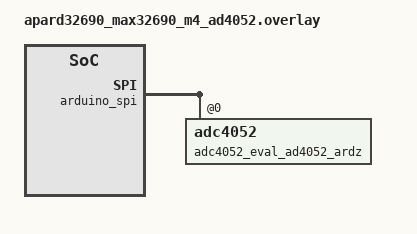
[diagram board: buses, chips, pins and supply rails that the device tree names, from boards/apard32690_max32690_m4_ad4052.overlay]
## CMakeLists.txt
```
# SPDX-License-Identifier: Apache-2.0

cmake_minimum_required(VERSION 3.20.0)

find_package(Zephyr REQUIRED HINTS $ENV{ZEPHYR_BASE})
project(adc_stream)

target_sources(app PRIVATE src/main.c)
```

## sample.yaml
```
sample:
  name: ADC stream sample
common:
  tags: adc
  depends_on: adc
  filter: dt_alias_exists("adc0") and dt_node_has_prop("/zephyr,user","io-channels")
  harness: console
  harness_config:
    type: one_line
    regex:
      - "^ADC data for [^@]+@\\d+ \\([0-9.]+\\) \\d+n$"
tests:
  sample.driver.adc_stream: {}
  sample.driver.adc_stream.ad4052-stream:
    extra_args:
      - SHIELD=eval_ad4052_ardz
      - EXTRA_CONF_FILE=ad4052-stream.conf
      - DTC_OVERLAY_FILE=boards/apard32690_max32690_m4_ad4052.overlay
    platform_allow:
      - apard32690/max32690/m4
  sample.driver.adc_stream.max32-stream:
    extra_args:
      - EXTRA_CONF_FILE=max32-stream.conf
      - DTC_OVERLAY_FILE=boards/apard32690_max32690_m4_max32.overlay
    platform_allow:
      - apard32690/max32690/m4
```

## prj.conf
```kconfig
CONFIG_ADC=y
CONFIG_GPIO=y
CONFIG_ADC_STREAM=y
```

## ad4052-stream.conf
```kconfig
# Copyright (c) 2025 Analog Devices, Inc.
# SPDX-License-Identifier: Apache-2.0
CONFIG_SPI=y
CONFIG_SPI_RTIO=y
CONFIG_AD405X_STREAM=y
CONFIG_COUNTER=y
CONFIG_COUNTER_TIMER_MAX32=y
```

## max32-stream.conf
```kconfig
# Copyright (c) 2025 Analog Devices, Inc.
# SPDX-License-Identifier: Apache-2.0
CONFIG_ADC_MAX32_STREAM=y
```

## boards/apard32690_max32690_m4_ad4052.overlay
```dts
/*
 * Copyright (c) 2025 Analog Devices, Inc.
 *
 * SPDX-License-Identifier: Apache-2.0
 */

&arduino_spi {
	adc4052_eval_ad4052_ardz: adc4052@0 {
		sampling-period = <20000>; /*uS*/
	};
};
```

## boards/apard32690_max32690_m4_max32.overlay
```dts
/*
 * Copyright (c) 2025 Analog Devices, Inc.
 *
 * SPDX-License-Identifier: Apache-2.0
 */

/ {
	aliases {
		adc0 = &adc;
	};

	zephyr,user {
		io-channels = <&adc 0>;
	};
};

&adc_clk_ext_p0_9 {
	power-source = <MAX32_VSEL_VDDIOH>;
};

&adc {
	reg = <0x40034000 0x1000>;
	pinctrl-0 = <&adc_clk_ext_p0_9>;
	pinctrl-names = "default";

	/* ADC parameters set up 25KSPS sampling rate */
	track-count = <96>;
	idle-count = <183>;

	#address-cells = <1>;
	#size-cells = <0>;
	#io-channel-cells = <1>;
	status = "okay";
	compatible = "adi,max32-adc-b-me18", "adi,max32-adc";

	channel@0 {
		reg = <0>;
		zephyr,gain = "ADC_GAIN_1";
		zephyr,reference = "ADC_REF_INTERNAL";
		zephyr,acquisition-time = <ADC_ACQ_TIME_DEFAULT>;
		zephyr,resolution = <12>;
		zephyr,vref-mv = <1250>;
	};
};
```

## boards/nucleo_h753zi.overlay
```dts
/*
 * Copyright (c) 2026 STMicroelectronics
 *
 * SPDX-License-Identifier: Apache-2.0
 */

/ {
	aliases {
		adc0 = &adc1;
	};

	zephyr,user {
		/* adjust channel number according to pinmux in board.dts */
		io-channels = <&adc1 15>, <&adc1 16>;
	};
};

&perck {
	clocks = <&rcc STM32_SRC_HSE CKPER_SEL(2)>;
	status = "okay";
};

&adc1 {
	clocks = <&rcc STM32_CLOCK(AHB1, 5)>,
		 <&rcc STM32_SRC_CKPER ADC_SEL(2)>;
	clock-names = "adcx", "adc_ker";
	st,adc-clock-source = "ASYNC";
	st,adc-prescaler = <256>;
	pinctrl-0 = <&adc1_inp15_pa3 &adc1_inp16_pa0>;
	#address-cells = <1>;
	#size-cells = <0>;

	channel@f {
		reg = <15>;
		zephyr,gain = "ADC_GAIN_1";
		zephyr,reference = "ADC_REF_INTERNAL";
		zephyr,acquisition-time = <ADC_ACQ_TIME_MAX>;
		zephyr,resolution = <16>;
	};

	channel@10 {
		reg = <16>;
		zephyr,gain = "ADC_GAIN_1";
		zephyr,reference = "ADC_REF_INTERNAL";
		zephyr,acquisition-time = <ADC_ACQ_TIME_MAX>;
		zephyr,resolution = <16>;
	};
};
```

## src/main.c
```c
/*
 * Copyright (c) 2024 Centro de Inovacao EDGE
 * Copyright (c) 2025 Analog Devices, Inc.
 * SPDX-License-Identifier: Apache-2.0
 */

#include <stdio.h>
#include <stdlib.h>

#include <zephyr/device.h>
#include <zephyr/drivers/adc.h>
#include <zephyr/sys/util_macro.h>
#include <zephyr/rtio/rtio.h>
#include <zephyr/kernel.h>
#include <zephyr/dsp/print_format.h>

/* ADC node from the devicetree. */
#define SAMPLE_ADC_NODE DT_ALIAS(adc0)

#define SAMPLE_DT_SPEC_AND_COMMA(node_id, prop, idx) ADC_DT_SPEC_GET_BY_IDX(node_id, idx),

/* Data of ADC io-channels specified in devicetree. */
static const struct adc_dt_spec adc_channels[] = {
	DT_FOREACH_PROP_ELEM(DT_PATH(zephyr_user), io_channels, SAMPLE_DT_SPEC_AND_COMMA)
};
static const int adc_channels_count = ARRAY_SIZE(adc_channels);

static void init_adc(void)
{
	int i, ret;

	ret = adc_is_ready_dt(&adc_channels[0]);

	for (i = 0; i < adc_channels_count; i++) {
		ret = adc_channel_setup_dt(&adc_channels[i]);
	}
}

/* Define triggers for ADC stream. Trigger stands for an event that
 * will cause the ADC to read data and perform an operation on it.
 *
 * Format for each trigger is:
 * {trigger, operation to be done on the data associated to the trigger}
 *
 * For more information about supported triggers and data operations,
 * refer to the enums adc_trigger_type and adc_stream_data_opt.
 */
#define SAMPLE_ADC_TRIGGERS					\
	{ADC_TRIG_FIFO_FULL, ADC_STREAM_DATA_INCLUDE},		\
	{ADC_TRIG_FIFO_WATERMARK, ADC_STREAM_DATA_INCLUDE}

ADC_DT_STREAM_IODEV(iodev, SAMPLE_ADC_NODE, adc_channels, SAMPLE_ADC_TRIGGERS);

/* Mempool is used for sharing ADC data that has been read between ADC driver and the application.
 * Data read in the ADC driver is stored in the mempool and can be processed in the application.
 * Current values are set to support range of ADC drivers and can be optimized for smaller memory
 * footprint. sizeof(void *) is used so memory blocks are properly aligned for different
 * platforms.
 */
RTIO_DEFINE_WITH_MEMPOOL(adc_ctx, 16, 16, 20, 256, sizeof(void *));

static int print_adc_stream(const struct device *adc, struct rtio_iodev *local_iodev)
{
	int rc = 0;
	const struct adc_decoder_api *decoder;
	struct rtio_cqe *cqe;
	uint8_t *buf;
	uint32_t buf_len;
	struct rtio_sqe *handles;

	/* Start the streams */
	adc_stream(local_iodev, &adc_ctx, NULL, &handles);

	while (1) {
		/* CQE is a RTIO completion event. It is created in a ADC driver that is
		 * doing the streaming when there is a batch of data to be processed
		 * or some error occurred during ADC streaming. CQE contains result of
		 * data reading and userdata (if one is passed in adc_stream).
		 * It is used to retrieve mempool buffer where data is stored.
		 */
		cqe = rtio_cqe_consume_block(&adc_ctx);

		if (cqe->result != 0) {
			printk("async read failed %d\n", cqe->result);
			return cqe->result;
		}

		rc = rtio_cqe_get_mempool_buffer(&adc_ctx, cqe, &buf, &buf_len);

		if (rc != 0) {
			printk("get mempool buffer failed %d\n", rc);
			return rc;
		}

		rtio_cqe_release(&adc_ctx, cqe);

		rc = adc_get_decoder(adc, &decoder);

		if (rc != 0) {
			printk("sensor_get_decoder failed %d\n", rc);
			return rc;
		}

		for (int channel = 0; channel < adc_channels_count; channel++) {
			/* Frame iterator values when data comes from a FIFO */
			uint32_t adc_fit = 0;
			struct adc_data adc_data = {0};

			/* Number of ADC data frames */
			uint16_t frame_count;

			rc = decoder->get_frame_count(buf, channel, &frame_count);

			if (rc != 0) {
				printk("get_frame_count failed %d\n", rc);
				return rc;
			}

			/* Decode all available ADC sample frames */
			for (int i = 0; i < frame_count; i++) {
				decoder->decode(buf, channel, &adc_fit, 1, &adc_data);
				printk("ADC data for %s channel %d (%" PRIq(6) ") %lluns\n",
				adc->name, channel,
				PRIq_arg(adc_data.readings[0].value, 6, adc_data.shift),
				(adc_data.header.base_timestamp_ns
				+ adc_data.readings[0].timestamp_delta));
			}
		}

		rtio_release_buffer(&adc_ctx, buf, buf_len);
	}

	return rc;
}

int main(void)
{
	int ret;
	struct adc_sequence sequence;
	struct adc_read_config *read_cfg = iodev.data;

	read_cfg->sequence = &sequence;

	init_adc();
	ret = adc_sequence_init_dt(&adc_channels[0], &sequence);
	if (ret < 0) {
		printk("Failed to initialize ADC sequence: %d\n", ret);
		return 0;
	}
	for (int i = 1; i < adc_channels_count; i++) {
		sequence.channels |= BIT(adc_channels[i].channel_id);
	}

	print_adc_stream(adc_channels[0].dev, &iodev);

	return 0;
}
```
